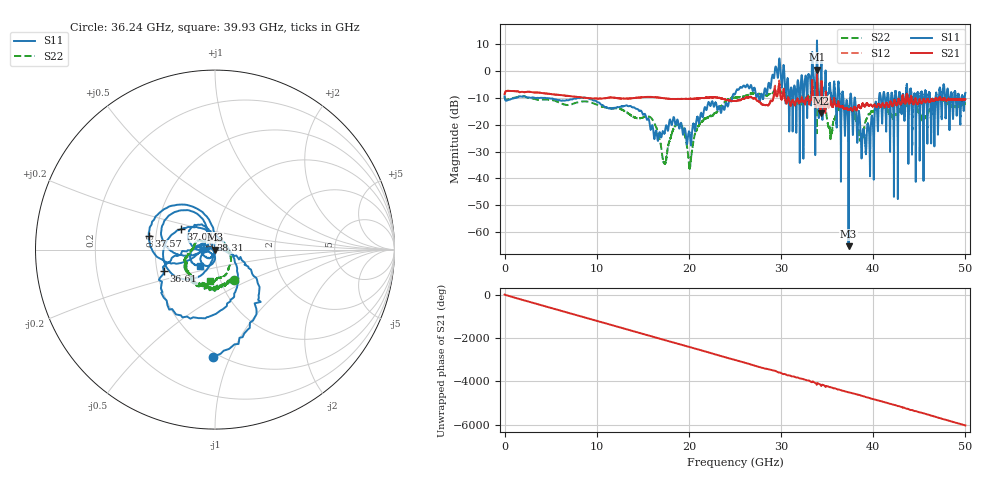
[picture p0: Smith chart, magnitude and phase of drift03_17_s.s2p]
!Created with skrf (http://scikit-rf.org).
# Hz S RI R 50.0
!freq ReS11 ImS11 ReS21 ImS21 ReS12 ImS12 ReS22 ImS22
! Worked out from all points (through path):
!   10001 points, 300 kHz to 50 GHz, reference 50 ohm
!   highest |S21| = 0.65 dB at 33.9 GHz (marker M1); lowest = -15.7 dB at 34.32 GHz (marker M2)
!   group delay of S21, straight-line fit = 335 ps
!   lowest |S11| = -65.3 dB at 37.32 GHz (marker M3), VSWR 1.00, Z = 50 + j0.0529 ohm
!   |S11| at or under -10 dB: 4.478 GHz to 7.928 GHz (3.45 GHz wide, 55.6 % of centre); 9.016 GHz to 24.7 GHz (15.68 GHz wide, 93 % of centre); 38.02 GHz to 40.63 GHz (2.61 GHz wide, 6.64 % of centre) (the widest 3 of 70)
!   |S22| runs from -36.8 to -5.9 dB; largest |S21 - S12| = 0.11
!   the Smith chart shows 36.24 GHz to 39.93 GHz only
!   S11 on the Smith chart (normalised r, x): 36.24 GHz: 0.46, -0.87; 36.61 GHz: 0.54, -0.14; 37.04 GHz: 0.67, +0.16; 37.57 GHz: 0.46, +0.08; 38.31 GHz: 0.94, +0.10; 39.93 GHz: 0.83, -0.15
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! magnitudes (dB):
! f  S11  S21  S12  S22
! 300 kHz  -9.4  -8.5  -8.5  -9.4
! 8.335 GHz  -9.9  -9.8  -9.8  -11.3
! 16.67 GHz  -25.5  -9.8  -9.8  -23.5
! 17.37 GHz  -23.1  -10.1  -10.1  -34.4
! 19.04 GHz  -20.3  -10.4  -10.4  -19.9
! 20.12 GHz  -24.5  -10.3  -10.3  -36.7
! 21.18 GHz  -18.0  -10.1  -10.1  -19.6
! 25 GHz  -8.6  -11.1  -11.1  -9.8
! 31.08 GHz  -6.1  -12.7  -12.7  -10.5
! 33.34 GHz  0.4  -7.6  -7.7  -9.5
! 33.9 GHz  11.5  0.6  0.2  -23.1
! 34.32 GHz  -2.8  -15.7  -15.0  -11.4
! 35.35 GHz  -6.9  -10.6  -10.1  -23.8
! 36.24 GHz  -4.5  -11.8  -11.7  -14.0
! 36.61 GHz  -10.2  -13.1  -13.0  -13.4
! 37.04 GHz  -13.1  -13.8  -13.9  -13.5
! 37.32 GHz  -65.3  -14.4  -14.4  -13.7
! 37.57 GHz  -8.5  -13.9  -13.8  -14.2
! 38.31 GHz  -24.3  -13.6  -13.5  -19.2
! 39.93 GHz  -18.2  -13.0  -13.1  -15.0
! 41.67 GHz  -9.8  -13.3  -13.3  -14.9
! 50 GHz  -8.0  -10.4  -10.5  -12.1
